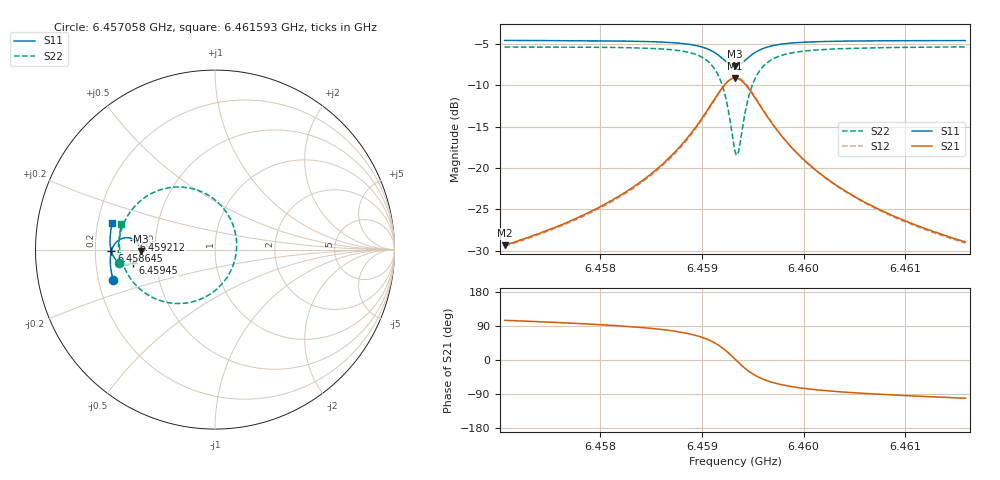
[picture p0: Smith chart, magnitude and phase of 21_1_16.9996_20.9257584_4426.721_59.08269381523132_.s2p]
#  HZ  S  RI  R  50.00
! Rohde & Schwarz Vector Network Analyzer
! Rohde-Schwarz,ZNB20-2Port,1311601062101988,3.16
! Created: UTC 3/20/2024, 10:52:59 PM
! freq[Hz]  re:S11  im:S11  re:S21  im:S21  re:S12  im:S12  re:S22  im:S22
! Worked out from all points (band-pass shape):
!   401 points, 6.457058 GHz to 6.461593 GHz, reference 50 ohm
!   highest |S21| = -9.10 dB at 6.459326 GHz (marker M1); lowest = -29.4 dB at 6.457058 GHz (marker M2)
!   |S21| within 3 dB of the highest: 6.4591 GHz to 6.459554 GHz (453.4 kHz wide, 0.00702 % of centre)
!   lowest |S11| = -7.6 dB at 6.459326 GHz (marker M3), VSWR 2.42, Z = 20.7 - j0.393 ohm
!   |S11| at or under -10 dB: nowhere
!   |S22| runs from -18.4 to -5.3 dB; largest |S21 - S12| = 0.014
!   S11 on the Smith chart (normalised r, x): 6.457058 GHz: 0.26, -0.13; 6.458645 GHz: 0.27, -0.01; 6.459212 GHz: 0.38, +0.05; 6.45945 GHz: 0.37, -0.07; 6.461593 GHz: 0.26, +0.12
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6.4570584e9  -0.5677 -0.1675  -0.00854 0.0329  -0.00695 0.0329  -0.5344 -0.0771
6.4578179e9  -0.5811 -0.1008  -0.00516 0.0512  -0.00266 0.0505  -0.5386 0.0128
6.458226e9  -0.5836 -0.0597  0.000762 0.0701  0.00391 0.0687  -0.53 0.0779
6.4585774e9  -0.5794 -0.0174  0.0152 0.1  0.0192 0.0971  -0.5032 0.1575
6.4586455e9  -0.5771 -0.00794  0.0205 0.1083  0.0247 0.105  -0.4928 0.1776
6.4588382e9  -0.5643 0.0226  0.0476 0.1394  0.0515 0.1343  -0.4421 0.2467
6.4589856e9  -0.5414 0.0488  0.0935 0.1699  0.0964 0.1632  -0.3577 0.3107
6.4591216e9  -0.497 0.0662  0.1814 0.1867  0.1819 0.1792  -0.1973 0.3489
6.4592123e9  -0.4519 0.056  0.2721 0.1552  0.2719 0.1495  -0.0296 0.298
6.4592803e9  -0.4223 0.0236  0.3334 0.0828  0.3354 0.0778  0.0873 0.1676
6.4593256e9  -0.4149 -0.00788  0.3503 0.0142  0.354 0.00748  0.1204 0.0391
6.4593597e9  -0.4187 -0.0321  0.3446 -0.0393  0.3488 -0.048  0.1093 -0.0618
6.459405e9  -0.4343 -0.0588  0.3158 -0.1004  0.3184 -0.112  0.0508 -0.1771
6.4594503e9  -0.4567 -0.0756  0.2731 -0.1422  0.2727 -0.1555  -0.0358 -0.2534
6.4594957e9  -0.4801 -0.083  0.2277 -0.1653  0.2241 -0.1782  -0.1266 -0.2912
6.459541e9  -0.5009 -0.0832  0.1868 -0.174  0.1807 -0.1857  -0.208 -0.3005
6.4596884e9  -0.5456 -0.0626  0.0971 -0.1597  0.0886 -0.166  -0.3786 -0.2495
6.4598471e9  -0.5676 -0.0349  0.0515 -0.1311  0.0439 -0.1339  -0.4599 -0.1759
6.4600852e9  -0.5806 0.00071  0.0222 -0.0987  0.0162 -0.0993  -0.508 -0.0922
6.4604139e9  -0.5853 0.0402  0.00635 -0.0721  0.00219 -0.0717  -0.5289 -0.0146
6.4608447e9  -0.5834 0.084  -0.00168 -0.0525  -0.00445 -0.0517  -0.5331 0.0558
6.4615929e9  -0.5714 0.1505  -0.00683 -0.0351  -0.00834 -0.0341  -0.5214 0.1451
